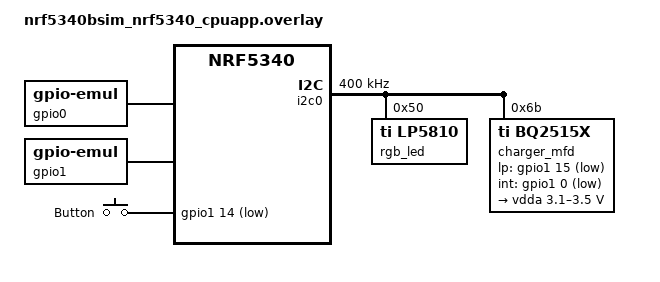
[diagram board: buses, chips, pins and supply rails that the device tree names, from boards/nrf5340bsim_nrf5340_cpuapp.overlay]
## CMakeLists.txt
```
# SPDX-License-Identifier: GPL-3.0-or-later
cmake_minimum_required(VERSION 3.20.0)

# app.overlay is not used automatically if a board-specific overlay is present
list(APPEND EXTRA_DTC_OVERLAY_FILE app.overlay)

find_package(Zephyr REQUIRED HINTS $ENV{ZEPHYR_BASE})

if(("${BOARD}" STREQUAL "zeus_le") OR
    ("${BOARD}" STREQUAL "raytac_mdbt53_db_40") OR
    ("${BOARD}" STREQUAL "nrf5340bsim"))
    message(INFO " ${BOARD} used for Application Core")
else()
    message(FATAL_ERROR "${BOARD} is not supported")
endif()

project(zeus_le_central LANGUAGES C)

add_subdirectory(../../protocol protocol)
add_subdirectory(../../common common)
add_subdirectory(../common central_common)

add_subdirectory(src)

target_link_libraries(app PRIVATE
    zeus_protocol
    zeus_common
    zeus_central_common
)
```

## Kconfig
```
source "Kconfig.zephyr"
rsource "../../common/Kconfig"

menu "Zeus LE"

endmenu
```

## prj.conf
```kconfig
### General
# WiFi requires full libc, use it on all platforms for consistency
CONFIG_PICOLIBC=y
# Poweroff support
CONFIG_POWEROFF=y
# Reboot support (enables 'kernel reboot' command)
CONFIG_REBOOT=y
# Event support for power module
CONFIG_EVENTS=y
# Build common code for central node
CONFIG_ZEUS_NODE_CENTRAL=y
# Three IPC endpoints: HCI, sync and logging
CONFIG_IPC_SERVICE_BACKEND_RPMSG_NUM_ENDPOINTS_PER_INSTANCE=3

### Console
CONFIG_SERIAL=y
CONFIG_UART_CONSOLE=y
# Shell on UART
CONFIG_SHELL_BACKEND_SERIAL=y

### Logging
CONFIG_LOG=y
# Receive logs from network core
CONFIG_LOG_MULTIDOMAIN=y
CONFIG_LOG_LINK_IPC_SERVICE=y
# Deferred mode required for IPC logging
CONFIG_LOG_MODE_DEFERRED=y
CONFIG_LOG_PROCESS_THREAD=y

### Settings
CONFIG_SETTINGS=y
# Flash support for settings
CONFIG_FLASH=y
CONFIG_FLASH_MAP=y
# Use non-volatile storage backed
CONFIG_NVS=y
CONFIG_SETTINGS_NVS=y
CONFIG_SETTINGS_SHELL=y

### GPIO
CONFIG_GPIO=y

### I2C
CONFIG_I2C=y

### LED
CONFIG_LED=y

### Battery Charger
CONFIG_CHARGER=y

### Regulator
CONFIG_REGULATOR=y

### Sensor (ADC)
CONFIG_SENSOR=y

### Bluetooth LE
CONFIG_BT=y
# Peripheral, supports incoming connections
CONFIG_BT_PERIPHERAL=y
# Security Manager Protocol, pairing support
CONFIG_BT_SMP=y
# Disable legacy pairing
# CONFIG_BT_SMP_SC_PAIR_ONLY=y
# Zephyr controller doesn't support ECC, so emulate it on host
CONFIG_BT_TINYCRYPT_ECC=y
# Settings support, to store pairing info
CONFIG_BT_SETTINGS=y
# Connection filtering to only allow paired devices
CONFIG_BT_FILTER_ACCEPT_LIST=y
CONFIG_BT_EXT_ADV=y
CONFIG_BT_EXT_ADV_MAX_ADV_SET=2
# Send periodic advertisements for syncing
CONFIG_BT_PER_ADV=y
CONFIG_BT_MAX_PAIRED=16

### Networking
CONFIG_NETWORKING=y
# Network shell commands
CONFIG_NET_SHELL=y
# Buffer usage tracking for 'net mem'
CONFIG_NET_BUF_POOL_USAGE=y
# BSD sockets API
CONFIG_NET_SOCKETS=y
# USB or simulated Ethernet
CONFIG_NET_L2_ETHERNET=y
CONFIG_NET_TCP=y

### Shell
CONFIG_SHELL=y
CONFIG_GPIO_SHELL=y
CONFIG_I2C_SHELL=y
CONFIG_LED_SHELL=y
CONFIG_REGULATOR_SHELL=y
```

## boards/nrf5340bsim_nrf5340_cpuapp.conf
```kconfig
# Enable assertions
CONFIG_ASSERT=y
# Simulated UART on stdin/stdout
CONFIG_NATIVE_UART_0_ON_STDINOUT=y
# Disable default console that only supports output
CONFIG_POSIX_ARCH_CONSOLE=n
# Logging goes through shell UART instead
CONFIG_LOG_BACKEND_NATIVE_POSIX=n

### Ethernet
CONFIG_ETH_NATIVE_POSIX=y
CONFIG_ETH_NATIVE_POSIX_DRV_NAME="zeus-central"
CONFIG_ETH_NATIVE_POSIX_RANDOM_MAC=n
CONFIG_ETH_NATIVE_POSIX_MAC_ADDR="02:d2:89:c9:e2:de"

### Device Emulation
CONFIG_EMUL=y
```

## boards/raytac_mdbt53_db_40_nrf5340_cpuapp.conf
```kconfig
CONFIG_LOG_BACKEND_SWO_FREQ_HZ=2000000
CONFIG_LOG_BACKEND_SWO=y
CONFIG_LOG_LINK_IPC_SERVICE=y
CONFIG_LOG_MULTIDOMAIN=y
```

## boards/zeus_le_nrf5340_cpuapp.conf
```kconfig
CONFIG_MAIN_STACK_SIZE=2048
# Increase shell stack for WiFi commands
CONFIG_SHELL_STACK_SIZE=5200

# Configure 32MHz crystal load capacitor
# "The settings for WT02C40C are to be determined"
# These settings are given as an example
CONFIG_SOC_HFXO_CAP_INTERNAL=y
CONFIG_SOC_HFXO_CAP_INT_VALUE_X2=25

### USB
# New USB stack
CONFIG_USB_DEVICE_STACK_NEXT=y
# USB Serial
CONFIG_USBD_CDC_ACM_CLASS=y
# Needed by USB serial
CONFIG_UART_LINE_CTRL=y
# Reduce log level
CONFIG_UDC_DRIVER_LOG_LEVEL_WRN=y
CONFIG_USBD_LOG_LEVEL_WRN=y
CONFIG_USBD_CDC_ACM_LOG_LEVEL_WRN=y

### WiFi
CONFIG_WIFI=y
# WiFi shell commands
CONFIG_NET_L2_WIFI_SHELL=y

### Battery charger
# Initialize battery charger before WiFi (80) to avoid hitting default current
# limit when running from USB
CONFIG_CHARGER_INIT_PRIORITY=71
# Initialize charger MFD before charger driver
CONFIG_MFD_INIT_PRIORITY=70

CONFIG_SHELL=y
CONFIG_LED_SHELL=y
```

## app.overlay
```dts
// SPDX-License-Identifier: GPL-3.0-or-later

#include "../common/central.dtsi"
```

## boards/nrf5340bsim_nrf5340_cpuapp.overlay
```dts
// SPDX-License-Identifier: GPL-3.0-or-later

#include <dt-bindings/led/led.h>
#include <zeus/dt-bindings/regulator/bq2515x.h>

/ {
	chosen {
		zephyr,console = &stdio;
		zephyr,shell-uart = &stdio;
	};

	stdio: stdio {
		status = "okay";
		compatible = "zephyr,native-posix-uart";
		/* Dummy current-speed entry to comply with serial
		 * DTS binding
		 */
		current-speed = <0>;
	};

	gpio0: gpio0_emul {	
		status = "okay";
		compatible = "zephyr,gpio-emul";
		rising-edge;
		falling-edge;
		high-level;
		low-level;
		gpio-controller;
		#gpio-cells = <2>;
	};

	gpio1: gpio1_emul {	
		status = "okay";
		compatible = "zephyr,gpio-emul";
		rising-edge;
		falling-edge;
		high-level;
		low-level;
		gpio-controller;
		#gpio-cells = <2>;
	};

	gpio_keys {
		compatible = "gpio-keys";
		button: button {
			label = "Button";
			gpios = <&gpio1 14 GPIO_ACTIVE_LOW>;
			zephyr,code = <INPUT_KEY_0>;
		};
	};

	i2c0: i2c@100 {
		status = "okay";
		compatible = "zephyr,i2c-emul-controller";
		clock-frequency = <I2C_BITRATE_FAST>;
		#address-cells = <1>;
		#size-cells = <0>;
		#forward-cells = <1>;
		reg = <0x100 4>;

		rgb_led: lp5810@50 {
			compatible = "ti,lp5810";
			reg = <0x50>;

			max-current-microamp = <25500>;
			lsd-threshold-percent = <65>;

			rgb-led {
				label = "RGB LED";
				index = <0>;
				color-mapping = <LED_COLOR_ID_BLUE LED_COLOR_ID_GREEN LED_COLOR_ID_RED>;
				manual-current-microamp = <6000 7000 9800>;
				auto-current-microamp = <6000 7000 9800>;
				phase-align = "forward", "middle", "backward";
			};
		};

		charger_mfd: bq25150@6b {
			compatible = "ti,bq2515x";
			reg = <0x6b>;
			lp-gpios = <&gpio1 15 GPIO_ACTIVE_LOW>;
			int-gpios = <&gpio1 0 GPIO_ACTIVE_LOW>;

			pg-mode = "mr";

			charger: charger {
				compatible = "ti,bq2515x-charger";
				ce-gpios = <&gpio1 8 GPIO_ACTIVE_LOW>;

				constant-charge-current-max-microamp = <300000>;
				input-current-max-milliamp = <500>;
			};

			charger_adc: adc {
				compatible = "ti,bq2515x-adc";
				read-rate = "1sec";
			};

			charger_regulators: regulators {
				compatible = "ti,bq2515x-regulator";

				vdda: ldo {
					regulator-initial-mode = <BQ2515X_REGULATOR_MODE_LDO>;
					regulator-min-microvolt = <3100000>;
					regulator-max-microvolt = <3500000>;
				};
			};
		};
	};
};
```

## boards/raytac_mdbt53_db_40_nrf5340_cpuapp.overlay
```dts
// SPDX-License-Identifier: GPL-3.0-or-later

/ {
	cdc_ecm_eth0: cdc_ecm_eth0 {
		compatible = "zephyr,cdc-ecm-ethernet";
		local-mac-address = [ 02 00 00 85 72 C1 ];
		remote-mac-address = "8a5488a923a7";
	};
};

&uart0 {
    current-speed = <1000000>;
};

// Disable unused hardware
&uart1 {
	status = "disabled";
};

&pwm0 {
	status = "disabled";
};

&spi2 {
	status = "disabled";
};

&spi3 {
	status = "disabled";
};
```

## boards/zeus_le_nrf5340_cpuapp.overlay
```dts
// SPDX-License-Identifier: GPL-3.0-or-later

&zephyr_udc0 {
	cdc_acm_uart0: cdc_acm_uart0 {
		compatible = "zephyr,cdc-acm-uart";
	};
};
```

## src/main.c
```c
// SPDX-License-Identifier: GPL-3.0-or-later
#include <nrfx_clock.h>
#include <zephyr/bluetooth/bluetooth.h>
#include <zephyr/bluetooth/uuid.h>
#include <zephyr/drivers/gpio.h>
#include <zephyr/kernel.h>
#include <zephyr/logging/log.h>
#include <zephyr/settings/settings.h>
#include <zephyr/shell/shell.h>

#include "sync.h"
#include "zeus/led.h"
#include "zeus/power.h"
#include "zeus/protocol.h"
#include "zeus/usb.h"
#include "zeus/wifi.h"

LOG_MODULE_REGISTER(central, LOG_LEVEL_DBG);

static K_MUTEX_DEFINE(central_mutex);

void button_release_work_handler(struct k_work *work);
static K_WORK_DELAYABLE_DEFINE(central_button_release_work,
                               button_release_work_handler);

enum central_state {
    CENTRAL_STATE_IDLE,
    CENTRAL_STATE_PAIRING,
    CENTRAL_STATE_RECORDING,
};

static const struct bt_data ad[] = {
    BT_DATA_BYTES(BT_DATA_UUID128_SOME, ZEUS_BT_UUID_VAL),
};

static const struct central_config {
    struct k_mutex *mutex;
    struct gpio_dt_spec button_gpio;
    struct k_work_delayable *button_release_work;
} central_config = {
    .mutex = &central_mutex,
    .button_gpio = GPIO_DT_SPEC_GET(DT_NODELABEL(button), gpios),
    .button_release_work = &central_button_release_work,
};

static struct central_data {
    enum central_state state;
    struct bt_le_adv_param adv_param;
    struct bt_le_ext_adv *adv;
    struct gpio_callback button_release_cb;
    /// Whether the button has entered the released state at least once since
    /// booting. This is to avoid triggering recording immediately on startup
    /// when the button is released after being held down to turn the device on.
    atomic_t button_boot_released;
} central_data = {
    .state = CENTRAL_STATE_IDLE,
    .adv_param =
        {
            .id = BT_ID_DEFAULT,
            .sid = 0,
            .secondary_max_skip = 0,
            .options = BT_LE_ADV_OPT_EXT_ADV | BT_LE_ADV_OPT_USE_IDENTITY |
                       BT_LE_ADV_OPT_CONNECTABLE | BT_LE_ADV_OPT_USE_NAME |
                       BT_LE_ADV_OPT_FILTER_CONN |
                       BT_LE_ADV_OPT_FILTER_SCAN_REQ,
            .interval_min = BT_GAP_ADV_SLOW_INT_MIN,
            .interval_max = BT_GAP_ADV_SLOW_INT_MAX,
            .peer = NULL,
        },
    .button_boot_released = ATOMIC_INIT(0),
};

static void add_bonded_addr_to_filter_list(const struct bt_bond_info *info,
                                           void *data) {
    char addr_str[BT_ADDR_LE_STR_LEN];

    bt_le_filter_accept_list_add(&info->addr);
    bt_addr_le_to_str(&info->addr, addr_str, sizeof(addr_str));
    LOG_DBG("added %s to advertising accept filter list\n", addr_str);
}

static int connect_adv_init(void) {
    struct central_data *c = &central_data;

    bt_foreach_bond(BT_ID_DEFAULT, add_bonded_addr_to_filter_list, NULL);

    int ret = bt_le_ext_adv_create(&c->adv_param, NULL, &c->adv);
    if (ret) {
        LOG_ERR("failed to create advertising set (err %d)", ret);
        return ret;
    }

    ret = bt_le_ext_adv_set_data(c->adv, ad, ARRAY_SIZE(ad), NULL, 0);
    if (ret) {
        LOG_ERR("failed to set advertising data (err %d)", ret);
        return ret;
    }

    ret = bt_le_ext_adv_start(c->adv, BT_LE_EXT_ADV_START_DEFAULT);
    if (ret) {
        LOG_ERR("failed to start extended advertising (err %d)", ret);
        return ret;
    }

    return 0;
}

static int connect_adv_set_pairing(bool pairing) {
    struct central_data *c = &central_data;

    // Allow connections from any device while pairing
    if (pairing) {
        c->adv_param.options &=
            ~(BT_LE_ADV_OPT_FILTER_CONN | BT_LE_ADV_OPT_FILTER_SCAN_REQ);
    } else {
        c->adv_param.options |=
            BT_LE_ADV_OPT_FILTER_CONN | BT_LE_ADV_OPT_FILTER_SCAN_REQ;
    }

    return bt_le_ext_adv_update_param(c->adv, &c->adv_param);
}

static int central_pair(void) {
    const struct central_config *config = &central_config;
    struct central_data *data = &central_data;
    int ret;

    k_mutex_lock(config->mutex, K_FOREVER);

    if (data->state != CENTRAL_STATE_IDLE) {
        ret = -EBUSY;
        goto unlock;
    }

    ret = bt_le_ext_adv_stop(data->adv);
    if (ret) {
        LOG_INF("failed to stop advertising (err %d)", ret);
        goto unlock;
    }

    ret = connect_adv_set_pairing(true);
    if (ret) {
        LOG_INF("failed to enable pairing (err %d)", ret);
        goto unlock;
    }

    ret = bt_le_ext_adv_start(data->adv, BT_LE_EXT_ADV_START_DEFAULT);
    if (ret) {
        LOG_INF("failed to start advertising (err %d)", ret);
        goto unlock;
    }

    data->state = CENTRAL_STATE_PAIRING;
    LOG_INF("pairing started...");

unlock:
    k_mutex_unlock(config->mutex);
    return ret;
}

static int central_start(void) {
    const struct central_config *config = &central_config;
    struct central_data *data = &central_data;
    int ret;

    k_mutex_lock(config->mutex, K_FOREVER);

    if (data->state == CENTRAL_STATE_PAIRING) {
        ret = -EBUSY;
        goto unlock;
    }

    ret = sync_cmd_start();
    if (ret) goto unlock;

    data->state = CENTRAL_STATE_RECORDING;

unlock:
    k_mutex_unlock(config->mutex);
    return ret;
}

static int central_stop(void) {
    const struct central_config *config = &central_config;
    struct central_data *data = &central_data;
    int ret;

    k_mutex_lock(config->mutex, K_FOREVER);

    if (data->state == CENTRAL_STATE_PAIRING) {
        ret = -EBUSY;
        goto unlock;
    }

    ret = sync_cmd_stop();
    if (ret) goto unlock;

    data->state = CENTRAL_STATE_IDLE;

unlock:
    k_mutex_unlock(config->mutex);
    return ret;
}

static int central_toggle(void) {
    const struct central_config *config = &central_config;
    struct central_data *data = &central_data;
    int ret;

    k_mutex_lock(config->mutex, K_FOREVER);

    switch (data->state) {
        case CENTRAL_STATE_PAIRING:
            ret = -EBUSY;
            goto unlock;
        case CENTRAL_STATE_IDLE:
            ret = sync_cmd_start();
            if (ret) goto unlock;
            data->state = CENTRAL_STATE_RECORDING;
            break;
        case CENTRAL_STATE_RECORDING:
            ret = sync_cmd_stop();
            if (ret) goto unlock;
            data->state = CENTRAL_STATE_IDLE;
            break;
    }

unlock:
    k_mutex_unlock(config->mutex);
    return ret;
}

static int cmd_pair(const struct shell *sh, size_t argc, char **argv) {
    shell_print(sh, "start pairing command");
    return central_pair();
}

SHELL_SUBCMD_ADD((zeus), pair, NULL, "Pair new audio node", cmd_pair, 1, 0);

static int cmd_start(const struct shell *sh, size_t argc, char **argv) {
    shell_print(sh, "start recording command");
    int ret = central_start();
    if (ret) {
        shell_error(sh, "failed to send start command (err %d)", ret);
    }
    return ret;
}

SHELL_SUBCMD_ADD((zeus), start, NULL, "Start recording", cmd_start, 1, 0);

static int cmd_stop(const struct shell *sh, size_t argc, char **argv) {
    shell_print(sh, "stop recording command");
    int ret = central_stop();
    if (ret) {
        shell_error(sh, "failed to send stop command (err %d)", ret);
    }
    return ret;
}

SHELL_SUBCMD_ADD((zeus), stop, NULL, "Stop recording", cmd_stop, 1, 0);

void button_release_work_handler(struct k_work *work) {
    struct central_data *data = &central_data;

    // Only trigger if a button release has already been recorded. If the user
    // has held the button down to start the device, this prevents the first
    // release from triggering a recording.
    if (atomic_set(&data->button_boot_released, 1)) {
        central_toggle();
    }
}

void button_release_handler(const struct device *port, struct gpio_callback *cb,
                            gpio_port_pins_t pins) {
    const struct central_config *config = &central_config;
    // Delay for debouncing
    k_work_reschedule(config->button_release_work, K_MSEC(50));
}

int button_init(void) {
    const struct central_config *config = &central_config;
    struct central_data *data = &central_data;
    int ret;

    gpio_init_callback(&data->button_release_cb, button_release_handler,
                       BIT(config->button_gpio.pin));

    ret = gpio_add_callback(config->button_gpio.port, &data->button_release_cb);
    if (ret) {
        return ret;
    }

    ret = gpio_pin_interrupt_configure_dt(&config->button_gpio,
                                          GPIO_INT_EDGE_TO_INACTIVE);
    if (ret) {
        return ret;
    }

    if (!gpio_pin_get_dt(&config->button_gpio)) {
        atomic_set(&data->button_boot_released, 1);
    }

    return 0;
}

WIFI_POWER_OFF_REGISTER();

#if IS_ENABLED(CONFIG_SOC_SERIES_NRF53X)
static int cpu_clock_128_mhz(void) {
    nrfx_err_t err =
        nrfx_clock_divider_set(NRF_CLOCK_DOMAIN_HFCLK, NRF_CLOCK_HFCLK_DIV_1);
    if (err != NRFX_SUCCESS) {
        LOG_WRN("Failed to set CPU to 128 MHz: %d", err - NRFX_ERROR_BASE_NUM);
        return -1;
    }
    return 0;
}
#endif

int main(void) {
    int ret;

    ret = power_init();
    if (ret) {
        LOG_ERR("power init failed (err %d)", ret);
    }

#if IS_ENABLED(CONFIG_SOC_SERIES_NRF53X)
    cpu_clock_128_mhz();
#endif

    ret = led_boot();
    if (ret) {
        LOG_ERR("failed to set LED (err %d)", ret);
    }

    // Initialize the Bluetooth Subsystem
    ret = bt_enable(NULL);
    if (ret) {
        LOG_ERR("failed to enable Bluetooth (err %d)", ret);
        return 0;
    }

    ret = settings_load();
    if (ret) {
        LOG_WRN("failed to load settings (err %d)", ret);
        // No return, settings failure is not fatal
    }

    usb_init();

    ret = connect_adv_init();
    if (ret) {
        return 0;
    }

    ret = sync_init();
    if (ret) {
        return 0;
    }

    button_init();

    LOG_INF("Booted");

    return 0;
}
```

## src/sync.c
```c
// SPDX-License-Identifier: GPL-3.0-or-later
#include "zeus/sync.h"

#include <inttypes.h>
#include <zephyr/bluetooth/bluetooth.h>
#include <zephyr/drivers/gpio.h>
#include <zephyr/ipc/ipc_service.h>
#include <zephyr/kernel.h>
#include <zephyr/logging/log.h>

#include "zeus/led.h"
#include "zeus/protocol.h"

LOG_MODULE_REGISTER(sync);

/// Delay from start command to start of recording. Must be long enough for
/// audio nodes to reliably receive command.
#define SYNC_START_DELAY_SEC 2
/// Start delay in timer units
#define SYNC_START_DELAY (SYNC_START_DELAY_SEC * ZEUS_TIME_NOMINAL_FREQ)

static void sync_adv_update_handler(struct k_work *work);
static K_WORK_DEFINE(sync_update_work, sync_adv_update_handler);

K_MSGQ_DEFINE(sync_cmd_queue, sizeof(struct zeus_adv_cmd), 2, 1);

static const struct sync_config {
    struct k_work *update_work;
    struct k_msgq *cmd_queue;
} sync_config = {
    .update_work = &sync_update_work,
    .cmd_queue = &sync_cmd_queue,
};

static struct sync_data {
    // Resources
    struct ipc_ept ept;
    struct bt_le_ext_adv *adv;

    // State
    struct zeus_adv_data adv_data;
    bool first_seq;
    uint8_t prev_seq;
    /// Timestamp of the last advertising packet sent
    atomic_t last_pkt_time;
    /// Current command sequence number
    uint16_t cmd_seq;
} sync_data = {
    .first_seq = true,
};

static int32_t sync_time_diff(uint32_t a, uint32_t b) {
    return (int32_t)(a - b);
}

static int sync_adv_update_data(void) {
    const struct sync_config *config = &sync_config;
    struct sync_data *data = &sync_data;

    bool new_cmd = false;
    int err = k_msgq_get(config->cmd_queue, &data->adv_data.cmd, K_NO_WAIT);
    if (!err) {
        new_cmd = true;
    }

    switch (data->adv_data.cmd.id) {
        case ZEUS_ADV_CMD_START: {
            int32_t waiting_time =
                sync_time_diff(data->adv_data.cmd.start.time,
                               data->adv_data.hdr.sync.prev_time);
            // FIXME: what if another non-recording related command arrives
            // before the waiting period expires
            if (waiting_time > 0) {
                led_record_waiting();
            } else {
                led_record_started();
            }
            // Clear out old start command once twice the start delay has
            // passed.
            if (waiting_time < -SYNC_START_DELAY) {
                data->adv_data.cmd =
                    (struct zeus_adv_cmd){.id = ZEUS_ADV_CMD_NONE};
                new_cmd = true;
            }
        } break;
        case ZEUS_ADV_CMD_STOP:
            led_record_stopped();
            break;
        default:
            break;
    }

    if (new_cmd) {
        data->adv_data.hdr.seq = ++data->cmd_seq;
    }

    size_t cmd_len;
    switch (data->adv_data.cmd.id) {
        case ZEUS_ADV_CMD_START:
            cmd_len = sizeof(struct zeus_adv_cmd_start);
            break;
        case ZEUS_ADV_CMD_STOP:
            cmd_len = 0;
            break;
        default:
        case ZEUS_ADV_CMD_NONE:
            // Make sure the cmd is NONE in the default case
            data->adv_data.cmd.id = ZEUS_ADV_CMD_NONE;
            cmd_len = 0;
            break;
    }
    size_t len = sizeof(struct zeus_adv_header) +
                 // No body is implicit ZEUS_ADV_CMD_NONE
                 (data->adv_data.cmd.id == ZEUS_ADV_CMD_NONE
                      ? 0
                      : sizeof(enum zeus_adv_cmd_id) + cmd_len);
    __ASSERT(len <= sizeof(struct zeus_adv_data),
             "Advertising data length calculation error");

    struct bt_data ad[] = {
        BT_DATA(BT_DATA_MANUFACTURER_DATA, &data->adv_data, len),
    };

    return bt_le_per_adv_set_data(data->adv, ad, ARRAY_SIZE(ad));
}

static void sync_adv_update_handler(struct k_work *work) {
    struct sync_data *data = &sync_data;

    int err = sync_adv_update_data();
    if (err < 0) {
        LOG_ERR("failed to set advertising data (err %d)", err);
    }

    led_record_sync(data->adv_data.hdr.sync.prev_time);
}

static void sync_ipc_recv(const void *data, size_t len, void *priv) {
    const struct sync_config *config = &sync_config;
    struct sync_data *t = &sync_data;
    const struct zeus_sync_msg *msg = data;

    if (msg->seq != (uint8_t)(t->prev_seq + 1) && !t->first_seq) {
        LOG_WRN("seq mismatch: %" PRIu8 " != %" PRIu8, msg->seq,
                t->prev_seq + 1);
    }
    t->prev_seq = msg->seq;
    t->first_seq = false;
    atomic_set(&t->last_pkt_time, msg->time);

    // LOG_INF("pkt");

    t->adv_data.hdr.sync = (struct zeus_adv_sync){
        .seq = msg->seq,
        .prev_time = msg->time,
    };

    k_work_submit(config->update_work);
}

static const struct ipc_ept_cfg sync_ept_cfg = {
    .name = "packet_timer",
    .cb.received = sync_ipc_recv,
    .priv = &sync_data,
};

/// Initialize periodic advertisements for syncing
static int sync_adv_init(void) {
    struct sync_data *data = &sync_data;

    struct bt_le_adv_param adv_param = {
        .id = BT_ID_DEFAULT,
        .sid = 1,
        .secondary_max_skip = 0,
        .options = BT_LE_ADV_OPT_EXT_ADV | BT_LE_ADV_OPT_USE_IDENTITY,
        .interval_min = BT_GAP_ADV_SLOW_INT_MIN,
        .interval_max = BT_GAP_ADV_SLOW_INT_MAX,
        .peer = NULL,
    };

    int ret = bt_le_ext_adv_create(&adv_param, NULL, &data->adv);
    if (ret) {
        LOG_ERR("failed to create sync advertising set (err %d)", ret);
        return ret;
    }

    // Set periodic advertising parameters
    ret = bt_le_per_adv_set_param(
        data->adv, BT_LE_PER_ADV_PARAM(BT_GAP_PER_ADV_FAST_INT_MIN_2,
                                       BT_GAP_PER_ADV_FAST_INT_MAX_2,
                                       BT_LE_PER_ADV_OPT_NONE));
    if (ret) {
        LOG_ERR("failed to set periodic sync advertising parameters (err %d)",
                ret);
        return ret;
    }

    // Enable Periodic Advertising
    ret = bt_le_per_adv_start(data->adv);
    if (ret) {
        LOG_ERR("failed to enable periodic sync advertising (err %d)\n", ret);
        return ret;
    }

    ret = bt_le_ext_adv_start(data->adv, BT_LE_EXT_ADV_START_DEFAULT);
    if (ret) {
        LOG_ERR("failed to start sync advertising (err %d)\n", ret);
        return ret;
    }

    return 0;
}

int sync_init(void) {
    struct sync_data *data = &sync_data;
    int ret;

    const struct device *ipc = DEVICE_DT_GET(DT_NODELABEL(ipc0));

    ret = ipc_service_open_instance(ipc);
    if (ret < 0 && ret != -EALREADY) {
        LOG_ERR("failed to initialize IPC (err %d)", ret);
        return ret;
    }
    ret = ipc_service_register_endpoint(ipc, &data->ept, &sync_ept_cfg);
    if (ret < 0) {
        LOG_ERR("failed to register IPC endpoint (err %d)", ret);
        return ret;
    }

    ret = sync_adv_init();
    if (ret) return ret;

    return 0;
}

int sync_cmd_start(void) {
    const struct sync_config *config = &sync_config;
    struct sync_data *data = &sync_data;

    uint32_t start_time = atomic_get(&data->last_pkt_time) + SYNC_START_DELAY;

    return k_msgq_put(config->cmd_queue,
                      &(struct zeus_adv_cmd){
                          .id = ZEUS_ADV_CMD_START,
                          .start.time = start_time,
                      },
                      K_NO_WAIT);
}

int sync_cmd_stop(void) {
    const struct sync_config *config = &sync_config;

    return k_msgq_put(config->cmd_queue,
                      &(struct zeus_adv_cmd){
                          .id = ZEUS_ADV_CMD_STOP,
                      },
                      K_NO_WAIT);
}
```

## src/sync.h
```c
// SPDX-License-Identifier: GPL-3.0-or-later
#pragma once

int sync_init(void);

int sync_cmd_start(void);

int sync_cmd_stop(void);
```
